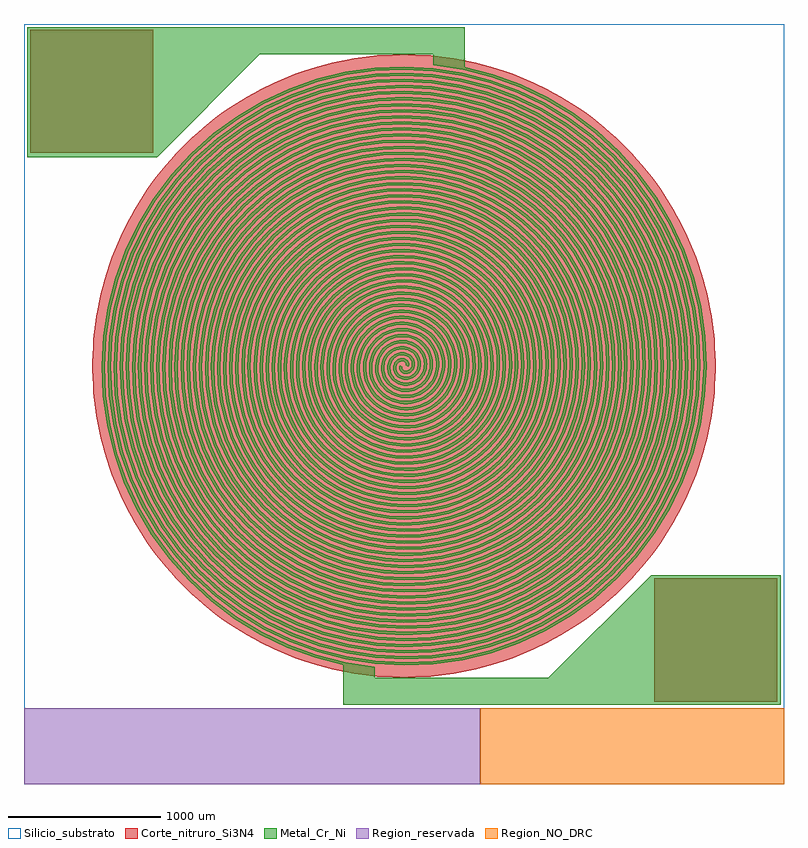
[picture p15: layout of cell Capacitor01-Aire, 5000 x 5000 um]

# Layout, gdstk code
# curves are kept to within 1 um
from math import pi, radians
import gdstk
lib = gdstk.Library(unit=1e-6, precision=1e-06)
def R(c, l, rs):  # rectangles x0, y0, x1, y1
    for r in rs: c.add(gdstk.rectangle(r[:2], r[2:], *l))
def P(c, l, *ps):  # polygons
    for p in ps: c.add(gdstk.Polygon(p, *l))
Silicio_substrato = (1, 1)
Region_reservada = (1, 2)
Region_NO_DRC = (1, 3)
Metal_Cr_Ni = (2, 0)
Corte_nitruro_Si3N4 = (3, 0)

chip_plantilla5x5mm_1 = lib.new_cell('Chip_Plantilla5x5mm$1')
R(chip_plantilla5x5mm_1, Silicio_substrato, [(0,0,5000,5000)])
R(chip_plantilla5x5mm_1, Region_reservada, [(0,0,3000,500)])
R(chip_plantilla5x5mm_1, Region_NO_DRC, [(3000,0,5000,500)])

spiral_3_1 = lib.new_cell('Spiral$3$1')
spiral_3_1.add(gdstk.FlexPath([(20,0),(21,2),(22,4),(23,7),(23,10),(23,12),(23,15),(22,18),(21,21),(20,24),(18,27),(16,30),(13,32),(11,35),(7,37),(4,39),(0,40),(-4,41),(-8,42),(-13,42),(-17,42),(-22,41),(-26,39),(-31,38),(-35,35),(-40,33),(-44,29),(-47,25),(-51,21),(-54,16),(-56,11),(-58,6),(-60,0),(-61,-6),(-61,-12),(-61,-19),(-60,-25),(-58,-31),(-56,-38),(-53,-44),(-49,-49),(-45,-55),(-40,-60),(-35,-65),(-29,-69),(-22,-73),(-15,-76),(-8,-78),(0,-80),(8,-81),(16,-81),(24,-80),(33,-79),(41,-76),(49,-73),(56,-69),(64,-64),(71,-58),(77,-51),(83,-44),(88,-36),(92,-28),(96,-19),(98,-10),(100,0),(101,10),(101,20),(99,30),(97,40),(94,50),(89,60),(84,69),(78,78),(71,86),(63,94),(54,100),(44,106),(34,111),(23,115),(12,118),(0,120),(-12,121),(-24,120),(-36,118),(-48,115),(-60,111),(-71,106),(-82,100),(-92,92),(-101,83),(-110,74),(-118,63),(-125,52),(-130,40),(-135,27),(-138,14),(-140,0),(-141,-14),(-140,-28),(-138,-42),(-134,-55),(-129,-69),(-123,-82),(-115,-94),(-106,-106),(-96,-117),(-85,-127),(-72,-136),(-59,-143),(-45,-150),(-31,-154),(-16,-158),(0,-160),(16,-160),(32,-159),(48,-157),(63,-152),(78,-147),(93,-139),(107,-130),(120,-120),(132,-109),(143,-96),(153,-82),(162,-67),(169,-51),(174,-35),(178,-18),(180,0),(180,18),(179,36),(176,53),(171,71),(164,88),(156,104),(146,120),(134,134),(121,148),(107,160),(91,171),(75,180),(57,188),(39,194),(19,198),(0,200),(-20,200),(-40,199),(-59,195),(-78,189),(-97,182),(-115,173),(-132,161),(-148,148),(-163,134),(-177,118),(-189,101),(-199,82),(-207,63),(-213,42),(-218,21),(-220,0),(-220,-22),(-218,-43),(-214,-65),(-208,-86),(-200,-107),(-189,-126),(-177,-145),(-163,-163),(-147,-179),(-129,-193),(-110,-206),(-90,-217),(-69,-226),(-46,-233),(-23,-238),(0,-240),(24,-240),(47,-238),(71,-233),(94,-226),(116,-217),(138,-206),(158,-192),(177,-177),(194,-159),(210,-140),(224,-120),(236,-98),(245,-74),(253,-50),(258,-25),(260,0),(260,26),(257,51),(252,77),(245,101),(235,126),(222,149),(208,170),(191,191),(172,210),(151,227),(129,241),(105,254),(80,264),(54,272),(27,277),(0,280),(-28,280),(-55,277),(-82,272),(-109,263),(-135,252),(-160,239),(-183,223),(-205,205),(-225,185),(-243,163),(-259,138),(-273,113),(-283,86),(-292,58),(-297,29),(-300,0),(-300,-30),(-297,-59),(-291,-88),(-282,-117),(-270,-144),(-256,-171),(-239,-196),(-219,-219),(-197,-241),(-174,-260),(-148,-277),(-121,-291),(-92,-303),(-62,-311),(-31,-317),(0,-320),(31,-320),(63,-316),(94,-310),(124,-300),(154,-288),(182,-272),(209,-254),(233,-233),(256,-210),(276,-185),(294,-157),(310,-128),(322,-98),(331,-66),(337,-33),(340,0),(340,33),(336,67),(329,100),(319,132),(305,163),(289,193),(270,221),(247,247),(223,272),(196,293),(167,312),(136,328),(103,341),(70,351),(35,357),(0,360),(-35,360),(-71,356),(-106,348),(-140,337),(-173,323),(-204,306),(-234,285),(-262,262),(-287,236),(-310,207),(-330,176),(-346,144),(-360,109),(-370,74),(-377,37),(-380,0),(-379,-37),(-375,-75),(-367,-111),(-356,-147),(-341,-182),(-322,-215),(-301,-247),(-276,-276),(-248,-302),(-218,-326),(-186,-347),(-151,-365),(-115,-379),(-78,-390),(-39,-397),(0,-400),(39,-399),(79,-395),(117,-386),(155,-374),(192,-358),(226,-339),(259,-316),(290,-290),(318,-261),(343,-229),(365,-195),(383,-159),(398,-121),(409,-81),(417,-41),(420,0),(419,41),(414,82),(406,123),(393,163),(376,201),(355,238),(331,272),(304,304),(274,333),(240,360),(204,383),(166,402),(127,417),(85,429),(43,437),(0,440),(-43,439),(-86,434),(-129,425),(-170,411),(-210,394),(-249,372),(-285,347),(-318,318),(-349,286),(-376,251),(-400,214),(-420,174),(-437,132),(-449,89),(-457,45),(-460,0),(-459,-45),(-454,-90),(-444,-135),(-430,-178),(-411,-220),(-389,-260),(-362,-297),(-332,-332),(-299,-364),(-263,-393),(-223,-418),(-182,-439),(-138,-456),(-93,-468),(-47,-476),(0,-480),(47,-479),(94,-473),(140,-463),(186,-448),(229,-429),(271,-405),(310,-378),(346,-346),(380,-312),(409,-274),(435,-233),(457,-189),(475,-144),(488,-97),(496,-49),(500,0),(499,49),(493,98),(482,146),(467,193),(446,239),(422,282),(393,323),(361,361),(324,395),(285,426),(242,453),(197,476),(150,494),(101,508),(51,516),(0,520),(-51,519),(-102,512),(-152,501),(-201,485),(-248,464),(-293,439),(-335,409),(-375,375),(-411,337),(-443,296),(-471,252),(-494,205),(-513,156),(-527,105),(-536,53),(-540,0),(-539,-53),(-532,-106),(-520,-158),(-504,-209),(-482,-258),(-455,-304),(-424,-348),(-389,-389),(-350,-426),(-307,-459),(-261,-488),(-212,-513),(-161,-532),(-109,-547),(-55,-556),(0,-560),(55,-559),(110,-552),(164,-539),(216,-522),(267,-499),(315,-472),(361,-440),(403,-403),(442,-362),(476,-318),(506,-270),(531,-220),(551,-167),(566,-113),(576,-57),(580,0),(578,57),(571,114),(559,169),(540,224),(517,276),(488,326),(455,373),(417,417),(375,457),(329,493),(280,524),(228,550),(173,571),(117,586),(59,596),(0,600),(-59,598),(-118,591),(-175,578),(-232,559),(-286,535),(-338,505),(-386,471),(-431,431),(-473,388),(-509,340),(-541,289),(-568,235),(-590,179),(-606,120),(-616,61),(-620,0),(-618,-61),(-611,-121),(-597,-181),(-577,-239),(-552,-295),(-522,-349),(-486,-399),(-445,-445),(-400,-488),(-351,-526),(-299,-559),(-243,-587),(-185,-609),(-124,-625),(-63,-636),(0,-640),(63,-638),(125,-630),(187,-616),(247,-596),(305,-570),(360,-538),(412,-501),(460,-460),(503,-413),(543,-363),(577,-308),(605,-251),(628,-190),(645,-128),(656,-65),(660,0),(658,65),(650,129),(635,193),(614,254),(588,314),(555,371),(517,424),(474,474),(426,519),(374,559),(318,594),(258,624),(196,647),(132,664),(67,675),(0,680),(-67,678),(-133,669),(-198,654),(-262,633),(-323,605),(-382,572),(-437,532),(-488,488),(-534,439),(-576,385),(-612,327),(-642,266),(-666,202),(-684,136),(-695,68),(-700,0),(-698,-69),(-689,-137),(-673,-204),(-651,-270),(-623,-333),(-588,-393),(-548,-450),(-502,-502),(-451,-550),(-396,-592),(-336,-629),(-274,-661),(-208,-685),(-140,-704),(-70,-715),(0,-720),(71,-718),(141,-709),(210,-693),(277,-670),(342,-640),(404,-605),(462,-563),(516,-516),(565,-464),(609,-407),(647,-346),(679,-281),(705,-214),(723,-144),(735,-72),(740,0),(738,73),(728,145),(712,216),(688,285),(658,352),(622,415),(579,475),(530,530),(477,581),(418,626),(355,665),(289,698),(220,724),(148,743),(74,755),(0,760),(-75,758),(-149,748),(-222,731),(-293,707),(-361,676),(-426,638),(-488,594),(-544,544),(-596,489),(-642,429),(-682,365),(-716,297),(-743,225),(-763,152),(-775,76),(-780,0),(-777,-77),(-767,-153),(-750,-228),(-725,-300),(-693,-371),(-655,-438),(-610,-500),(-559,-559),(-502,-612),(-440,-659),(-374,-700),(-304,-734),(-231,-762),(-156,-782),(-78,-795),(0,-800),(79,-797),(157,-787),(233,-769),(308,-744),(380,-711),(449,-671),(513,-625),(573,-573),(627,-515),(676,-451),(718,-384),(753,-312),(781,-237),(802,-159),(815,-80),(820,0),(817,80),(807,160),(788,239),(762,316),(729,389),(688,460),(641,526),(587,587),(527,643),(463,692),(393,735),(320,771),(243,800),(163,821),(82,835),(0,840),(-82,837),(-164,826),(-245,807),(-323,781),(-399,746),(-471,705),(-538,656),(-601,601),(-658,540),(-709,474),(-753,402),(-790,327),(-819,249),(-841,167),(-855,84),(-860,0),(-857,-84),(-846,-168),(-827,-251),(-799,-331),(-764,-408),(-721,-482),(-672,-551),(-615,-615),(-553,-673),(-485,-725),(-412,-771),(-335,-808),(-254,-839),(-171,-861),(-86,-875),(0,-880),(86,-877),(172,-866),(257,-846),(339,-818),(418,-782),(493,-738),(564,-687),(629,-629),(689,-565),(742,-496),(788,-421),(827,-343),(858,-260),(880,-175),(894,-88),(900,0),(897,88),(885,176),(865,262),(836,346),(799,427),(755,504),(702,577),(643,643),(578,704),(507,759),(431,806),(350,845),(266,877),(179,900),(90,914),(0,920),(-90,917),(-180,905),(-268,884),(-354,855),(-437,817),(-515,771),(-589,718),(-658,658),(-720,591),(-775,518),(-823,440),(-864,358),(-896,272),(-919,183),(-934,92),(-940,0),(-937,-92),(-924,-184),(-903,-274),(-873,-362),(-835,-446),(-788,-526),(-733,-602),(-672,-672),(-603,-735),(-529,-792),(-450,-841),(-365,-882),(-278,-915),(-187,-939),(-94,-954),(0,-960),(94,-957),(188,-944),(280,-922),(369,-892),(455,-852),(538,-804),(615,-749),(686,-686),(751,-616),(809,-540),(859,-459),(901,-373),(934,-283),(959,-191),(974,-96),(980,0),(977,96),(964,192),(941,286),(910,377),(870,465),(821,549),(764,627),(700,700),(629,766),(551,825),(468,876),(381,919),(289,953),(195,978),(98,994),(0,1000),(-98,996),(-196,983),(-291,961),(-385,928),(-474,887),(-560,838),(-640,780),(-714,714),(-782,642),(-842,563),(-894,478),(-938,388),(-972,295),(-998,199),(-1014,100),(-1020,0),(-1016,-100),(-1003,-199),(-980,-297),(-947,-392),(-905,-484),(-854,-571),(-795,-653),(-728,-728),(-654,-797),(-574,-858),(-487,-912),(-396,-956),(-301,-992),(-202,-1018),(-102,-1034),(0,-1040),(102,-1036),(203,-1022),(303,-999),(400,-965),(493,-923),(582,-871),(665,-811),(742,-742),(813,-667),(875,-585),(929,-497),(975,-404),(1011,-307),(1037,-206),(1054,-104),(1060,0),(1056,104),(1042,207),(1018,309),(984,408),(940,503),(888,593),(826,678),(757,757),(680,828),(596,892),(506,947),(411,993),(312,1030),(210,1057),(106,1074),(0,1080),(-106,1076),(-211,1062),(-315,1037),(-415,1002),(-512,958),(-604,904),(-691,842),(-771,771),(-844,692),(-908,607),(-965,516),(-1012,419),(-1049,318),(-1076,214),(-1093,108),(-1100,0),(-1096,-108),(-1081,-215),(-1056,-320),(-1021,-423),(-976,-521),(-921,-615),(-857,-703),(-785,-785),(-705,-859),(-618,-925),(-525,-982),(-427,-1030),(-324,-1068),(-218,-1096),(-110,-1113),(0,-1120),(110,-1116),(219,-1101),(326,-1075),(431,-1039),(531,-993),(626,-937),(716,-873),(799,-799),(874,-718),(942,-629),(1000,-534),(1049,-434),(1087,-330),(1116,-222),(1133,-112),(1140,0),(1136,112),(1121,223),(1095,332),(1058,438),(1011,540),(954,638),(888,729),(813,813),(730,890),(640,958),(544,1018),(442,1067),(336,1106),(226,1135),(114,1153),(0,1160),(-114,1156),(-227,1140),(-338,1114),(-446,1076),(-550,1029),(-649,971),(-741,903),(-827,827),(-905,743),(-975,651),(-1035,553),(-1086,450),(-1126,341),(-1155,230),(-1173,116),(-1180,0),(-1176,-116),(-1160,-231),(-1133,-344),(-1095,-453),(-1046,-559),(-987,-660),(-919,-754),(-841,-841),(-756,-921),(-663,-992),(-563,-1053),(-457,-1104),(-347,-1145),(-234,-1174),(-117,-1193),(0,-1200),(118,-1195),(235,-1179),(349,-1152),(461,-1113),(569,-1064),(671,-1004),(767,-934),(856,-856),(936,-768),(1008,-674),(1070,-572),(1123,-465),(1164,-353),(1194,-238),(1213,-119),(1220,0),(1215,120),(1199,238),(1171,355),(1132,469),(1081,578),(1021,682),(950,780),(870,870),(781,952),(685,1025),(582,1088),(473,1141),(359,1183),(241,1214),(121,1233),(0,1240),(-122,1235),(-242,1219),(-361,1190),(-476,1150),(-587,1099),(-693,1037),(-792,965),(-884,884),(-967,794),(-1041,696),(-1106,591),(-1159,480),(-1202,365),(-1233,245),(-1253,123),(-1260,0),(-1255,-124),(-1238,-246),(-1209,-367),(-1169,-484),(-1117,-597),(-1054,-704),(-981,-805),(-898,-898),(-806,-983),(-707,-1058),(-600,-1123),(-488,-1178),(-370,-1221),(-249,-1253),(-125,-1273),(0,-1280),(126,-1275),(250,-1258),(373,-1228),(492,-1187),(606,-1134),(715,-1071),(818,-996),(912,-912),(998,-819),(1075,-718),(1141,-610),(1196,-496),(1240,-376),(1273,-253),(1292,-127),(1300,0),(1295,128),(1277,254),(1248,378),(1206,499),(1152,616),(1087,726),(1012,830),(926,926),(832,1014),(729,1091),(619,1159),(503,1215),(382,1260),(257,1292),(129,1312),(0,1320),(-130,1315),(-258,1297),(-384,1267),(-507,1224),(-625,1170),(-738,1104),(-843,1027),(-940,940),(-1029,845),(-1108,740),(-1176,629),(-1233,511),(-1279,388),(-1312,261),(-1332,131),(-1340,0),(-1335,-131),(-1317,-262),(-1286,-390),(-1243,-515),(-1187,-635),(-1120,-749),(-1043,-856),(-955,-955),(-857,-1045),(-751,-1125),(-638,-1194),(-519,-1252),(-394,-1298),(-265,-1331),(-133,-1352),(0,-1360),(133,-1355),(266,-1336),(396,-1305),(522,-1261),(644,-1205),(760,-1137),(868,-1058),(969,-969),(1060,-870),(1141,-763),(1212,-648),(1270,-526),(1317,-400),(1351,-269),(1372,-135),(1380,0),(1375,135),(1356,270),(1324,402),(1280,530),(1223,653),(1154,771),(1074,881),(983,983),(883,1075),(774,1158),(657,1229),(534,1289),(405,1336),(273,1371),(137,1392),(0,1400),(-137,1395),(-274,1376),(-407,1343),(-538,1298),(-663,1240),(-782,1170),(-894,1089),(-997,997),(-1091,895),(-1174,785),(-1247,666),(-1307,541),(-1355,411),(-1390,277),(-1412,139),(-1420,0),(-1414,-139),(-1395,-278),(-1362,-413),(-1317,-545),(-1258,-672),(-1187,-793),(-1104,-906),(-1011,-1011),(-908,-1106),(-796,-1191),(-676,-1264),(-549,-1326),(-417,-1374),(-280,-1410),(-141,-1432),(0,-1440),(141,-1434),(281,-1415),(419,-1382),(553,-1335),(682,-1275),(804,-1204),(919,-1120),(1025,-1025),(1122,-921),(1208,-807),(1282,-685),(1344,-557),(1394,-423),(1429,-284),(1452,-143),(1460,0),(1454,143),(1434,285),(1401,425),(1353,561),(1293,691),(1220,815),(1135,932),(1039,1039),(933,1137),(818,1224),(695,1300),(564,1363),(429,1413),(288,1449),(145,1472),(0,1480),(-145,1474),(-289,1454),(-431,1420),(-568,1372),(-701,1311),(-826,1237),(-944,1151),(-1054,1054),(-1153,946),(-1241,829),(-1317,704),(-1381,572),(-1432,434),(-1469,292),(-1492,147),(-1500,0),(-1494,-147),(-1474,-293),(-1439,-437),(-1390,-576),(-1328,-710),(-1253,-838),(-1166,-957),(-1068,-1068),(-959,-1168),(-840,-1258),(-714,-1335),(-580,-1400),(-440,-1451),(-296,-1488),(-149,-1511),(0,-1520),(149,-1514),(297,-1493),(442,-1458),(584,-1409),(719,-1346),(849,-1270),(970,-1182),(1082,-1082),(1184,-971),(1274,-851),(1353,-723),(1418,-587),(1470,-446),(1508,-300),(1531,-151),(1540,0),(1534,151),(1513,301),(1477,448),(1427,591),(1364,729),(1287,860),(1197,983),(1096,1096),(984,1199),(863,1291),(732,1370),(595,1437),(452,1489),(304,1528),(153,1551),(0,1560),(-153,1554),(-305,1532),(-454,1496),(-599,1446),(-738,1381),(-871,1303),(-995,1213),(-1110,1110),(-1215,997),(-1307,874),(-1388,742),(-1455,603),(-1508,458),(-1547,308),(-1571,155),(-1580,0),(-1574,-155),(-1552,-309),(-1516,-460),(-1464,-607),(-1399,-748),(-1320,-882),(-1228,-1008),(-1124,-1124),(-1009,-1230),(-885,-1324),(-751,-1406),(-610,-1474),(-463,-1528),(-312,-1567),(-157,-1591),(0,-1600),(157,-1594),(313,-1572),(466,-1535),(614,-1483),(757,-1417),(893,-1337),(1021,-1244),(1138,-1138),(1246,-1022),(1341,-896),(1423,-761),(1492,-618),(1547,-469),(1586,-316),(1611,-159),(1620,0),(1613,159),(1591,317),(1554,471),(1501,622),(1434,767),(1353,904),(1259,1033),(1153,1153),(1035,1261),(907,1357),(770,1441),(626,1511),(475,1566),(319,1606),(161,1631),(0,1640),(-161,1633),(-320,1611),(-477,1573),(-630,1520),(-776,1452),(-915,1370),(-1046,1275),(-1167,1167),(-1276,1048),(-1374,918),(-1458,780),(-1529,633),(-1585,481),(-1626,323),(-1651,163),(-1660,0),(-1653,-163),(-1631,-324),(-1592,-483),(-1538,-637),(-1470,-785),(-1386,-926),(-1290,-1059),(-1181,-1181),(-1060,-1292),(-929,-1391),(-789,-1476),(-641,-1547),(-487,-1604),(-327,-1645),(-165,-1671),(0,-1680),(165,-1673),(328,-1650),(489,-1611),(645,-1557),(795,-1487),(938,-1403),(1071,-1305),(1195,-1195),(1307,-1073),(1407,-940),(1494,-798),(1566,-649),(1623,-492),(1665,-331),(1691,-167),(1700,0),(1693,167),(1670,332),(1630,495),(1575,652),(1505,804),(1420,949),(1321,1084),(1209,1209),(1086,1323),(951,1424),(808,1511),(656,1584),(498,1642),(335,1684),(168,1710),(0,1720),(-169,1713),(-336,1689),(-500,1650),(-660,1594),(-814,1522),(-960,1436),(-1097,1336),(-1223,1223),(-1338,1098),(-1441,963),(-1529,817),(-1603,664),(-1661,504),(-1704,339),(-1730,170),(-1740,0),(-1733,-171),(-1709,-340),(-1669,-506),(-1612,-668),(-1540,-823),(-1453,-971),(-1352,-1109),(-1237,-1237),(-1111,-1354),(-974,-1457),(-827,-1547),(-672,-1621),(-510,-1681),(-343,-1724),(-172,-1750),(0,-1760),(173,-1753),(344,-1729),(512,-1688),(675,-1631),(833,-1558),(982,-1470),(1122,-1367),(1252,-1252),(1369,-1124),(1474,-985),(1564,-836),(1640,-679),(1700,-516),(1743,-347),(1770,-174),(1780,0),(1773,175),(1748,348),(1707,518),(1649,683),(1575,842),(1486,993),(1383,1135),(1266,1266),(1136,1385),(996,1490),(846,1582),(687,1658),(521,1719),(351,1763),(176,1790),(0,1800),(-177,1793),(-352,1768),(-524,1726),(-691,1668),(-851,1593),(-1004,1503),(-1147,1398),(-1280,1280),(-1400,1149),(-1507,1007),(-1600,855),(-1677,695),(-1738,527),(-1783,355),(-1810,178),(-1820,0),(-1812,-179),(-1787,-356),(-1745,-529),(-1686,-698),(-1611,-861),(-1520,-1015),(-1414,-1160),(-1294,-1294),(-1162,-1416),(-1018,-1524),(-864,-1617),(-702,-1695),(-533,-1757),(-358,-1802),(-180,-1830),(0,-1840),(180,-1832),(359,-1807),(535,-1764),(706,-1705),(870,-1628),(1026,-1536),(1173,-1429),(1308,-1308),(1431,-1174),(1540,-1029),(1635,-874),(1714,-710),(1776,-539),(1822,-362),(1850,-182),(1860,0),(1852,182),(1827,363),(1783,541),(1723,714),(1646,880),(1553,1038),(1445,1186),(1322,1322),(1187,1446),(1040,1557),(883,1653),(718,1732),(545,1795),(366,1841),(184,1870),(0,1880),(-184,1872),(-367,1846),(-547,1803),(-721,1742),(-889,1664),(-1049,1569),(-1198,1460),(-1336,1336),(-1462,1200),(-1574,1051),(-1670,893),(-1751,725),(-1815,550),(-1861,370),(-1890,186),(-1900,0),(-1892,-186),(-1866,-371),(-1822,-553),(-1760,-729),(-1681,-899),(-1586,-1060),(-1475,-1211),(-1351,-1351),(-1212,-1477),(-1063,-1590),(-902,-1688),(-733,-1769),(-556,-1834),(-374,-1881),(-188,-1910),(0,-1920),(188,-1912),(375,-1886),(558,-1841),(737,-1778),(908,-1699),(1071,-1603),(1224,-1491),(1365,-1365),(1493,-1225),(1607,-1074),(1705,-912),(1788,-740),(1853,-562),(1900,-378),(1929,-190),(1940,0),(1932,190),(1905,379),(1860,564),(1797,744),(1716,917),(1619,1082),(1506,1236),(1379,1379),(1238,1508),(1085,1623),(921,1723),(748,1806),(568,1872),(382,1920),(192,1949),(0,1960),(-192,1952),(-383,1925),(-570,1879),(-752,1815),(-927,1734),(-1093,1636),(-1249,1522),(-1393,1393),(-1524,1251),(-1640,1096),(-1741,930),(-1825,756),(-1891,574),(-1940,386),(-1969,194),(-1980,0),(-1972,-194),(-1944,-387),(-1898,-576),(-1834,-760),(-1752,-936),(-1653,-1104),(-1537,-1262),(-1407,-1407),(-1263,-1539),(-1107,-1657),(-940,-1758),(-763,-1843),(-579,-1910),(-390,-1959),(-196,-1989)], 20, ends="flush", simple_path=True, layer=2, datatype=0))  # Metal_Cr_Ni

doble_spiral_1 = lib.new_cell('doble_spiral$1')
P(doble_spiral_1, Metal_Cr_Ni, [(-197,-1999),(-202,-1998),(-196,-1979),(-194,-1979),(-194,-1999)])
doble_spiral_1.add(gdstk.Reference(spiral_3_1, (1,0), rotation=pi))
doble_spiral_1.add(gdstk.Reference(spiral_3_1, (0,0)))

circle = lib.new_cell('CIRCLE')
P(circle, Corte_nitruro_Si3N4, [(-25,-2050),(-126,-2046),(-226,-2038),(-326,-2024),(-425,-2006),(-474,-1995),(-571,-1969),(-667,-1939),(-761,-1904),(-808,-1884),(-854,-1864),(-944,-1820),(-989,-1796),(-1075,-1745),(-1160,-1691),(-1241,-1632),(-1320,-1569),(-1395,-1502),(-1467,-1432),(-1536,-1358),(-1569,-1320),(-1632,-1241),(-1691,-1160),(-1745,-1075),(-1796,-989),(-1820,-944),(-1864,-854),(-1904,-761),(-1939,-667),(-1969,-571),(-1995,-474),(-2016,-375),(-2032,-276),(-2043,-176),(-2049,-75),(-2050,25),(-2046,126),(-2038,226),(-2024,326),(-2006,425),(-1995,474),(-1969,571),(-1939,667),(-1904,761),(-1884,808),(-1864,854),(-1820,944),(-1796,989),(-1745,1075),(-1691,1160),(-1632,1241),(-1569,1320),(-1502,1395),(-1432,1467),(-1358,1536),(-1320,1569),(-1241,1632),(-1160,1691),(-1075,1745),(-989,1796),(-944,1820),(-854,1864),(-761,1904),(-667,1939),(-571,1969),(-474,1995),(-375,2016),(-276,2032),(-176,2043),(-75,2049),(25,2050),(126,2046),(226,2038),(326,2024),(425,2006),(474,1995),(571,1969),(667,1939),(761,1904),(808,1884),(854,1864),(944,1820),(989,1796),(1075,1745),(1160,1691),(1241,1632),(1320,1569),(1395,1502),(1467,1432),(1536,1358),(1569,1320),(1632,1241),(1691,1160),(1745,1075),(1796,989),(1820,944),(1864,854),(1904,761),(1939,667),(1969,571),(1995,474),(2016,375),(2032,276),(2043,176),(2049,75),(2050,-25),(2046,-126),(2038,-226),(2024,-326),(2006,-425),(1995,-474),(1969,-571),(1939,-667),(1904,-761),(1884,-808),(1864,-854),(1820,-944),(1796,-989),(1745,-1075),(1691,-1160),(1632,-1241),(1569,-1320),(1502,-1395),(1432,-1467),(1358,-1536),(1320,-1569),(1241,-1632),(1160,-1691),(1075,-1745),(989,-1796),(944,-1820),(854,-1864),(761,-1904),(667,-1939),(571,-1969),(474,-1995),(375,-2016),(276,-2032),(176,-2043),(75,-2049)])

capacitor01_aire = lib.new_cell('Capacitor01-Aire')
R(capacitor01_aire, Metal_Cr_Ni, [(2694,4729,2699,4733)])
P(capacitor01_aire, Metal_Cr_Ni, [(2100,520),(2100,795),(2306,767),(2306,700),(3450,700),(4125,1375),(4980,1375),(4980,520)],
  [(20,4125),(20,4980),(2900,4980),(2900,4705),(2694,4733),(2694,4800),(1550,4800),(875,4125)])
R(capacitor01_aire, Corte_nitruro_Si3N4, [(4147,542,4957,1352), (40,4152,850,4962)])
capacitor01_aire.add(gdstk.Reference(chip_plantilla5x5mm_1, (0,0)))
capacitor01_aire.add(gdstk.Reference(doble_spiral_1, (2500,2750)))
capacitor01_aire.add(gdstk.Reference(circle, (2500,2750)))

lib.write_gds('Capacitor01-Aire.gds')
